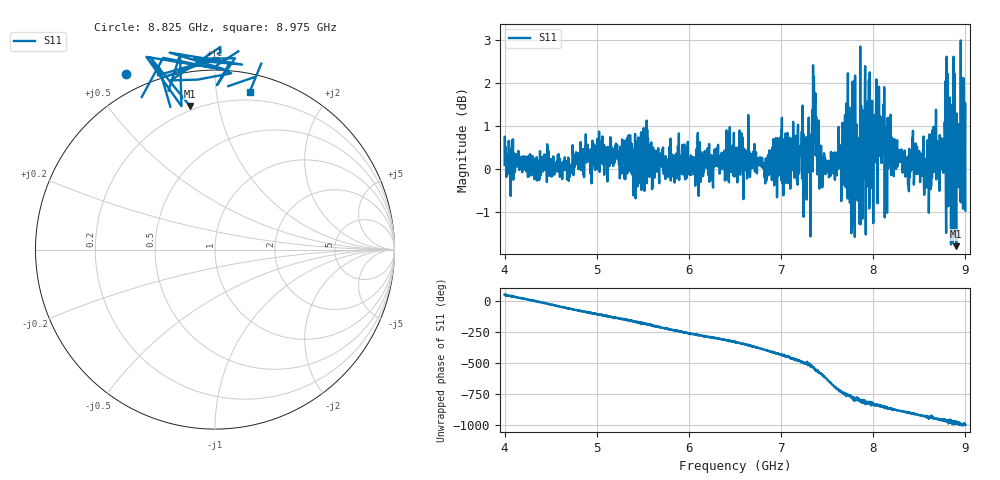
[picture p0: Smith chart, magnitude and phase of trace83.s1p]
! Created with skrf 1.8.0 (http://scikit-rf.org).
# Hz S RI R 50.0
!freq ReS11 ImS11
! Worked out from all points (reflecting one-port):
!   1601 points, 4 GHz to 9 GHz, reference 50 ohm
!   lowest |S11| = -1.8 dB at 8.9 GHz (marker M1), VSWR 9.67, Z = 8.75 + j41.3 ohm
!   phase of S11 starts at 52 deg and turns -1051 deg over the sweep
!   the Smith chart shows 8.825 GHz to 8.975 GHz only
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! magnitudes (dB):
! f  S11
! 4 GHz  0.1
! 4.625 GHz  -0.2
! 4.894 GHz  0.2
! 5.25 GHz  -0.2
! 5.875 GHz  -0.2
! 6.5 GHz  0.2
! 7.125 GHz  0.3
! 7.209 GHz  0.4
! 7.262 GHz  0.5
! 7.319 GHz  -1.6
! 7.359 GHz  1.8
! 7.438 GHz  0.0
! 7.684 GHz  -0.4
! 7.75 GHz  0.2
! 7.769 GHz  -0.5
! 7.8 GHz  -1.6
! 7.875 GHz  -0.7
! 7.928 GHz  0.4
! 7.981 GHz  0.1
! 8.097 GHz  0.5
! 8.147 GHz  0.9
! 8.178 GHz  1.2
! 8.375 GHz  0.1
! 8.581 GHz  -0.4
! 8.816 GHz  -0.7
! 8.9 GHz  -1.8
! 8.972 GHz  0.6
! 9 GHz  -1.0
